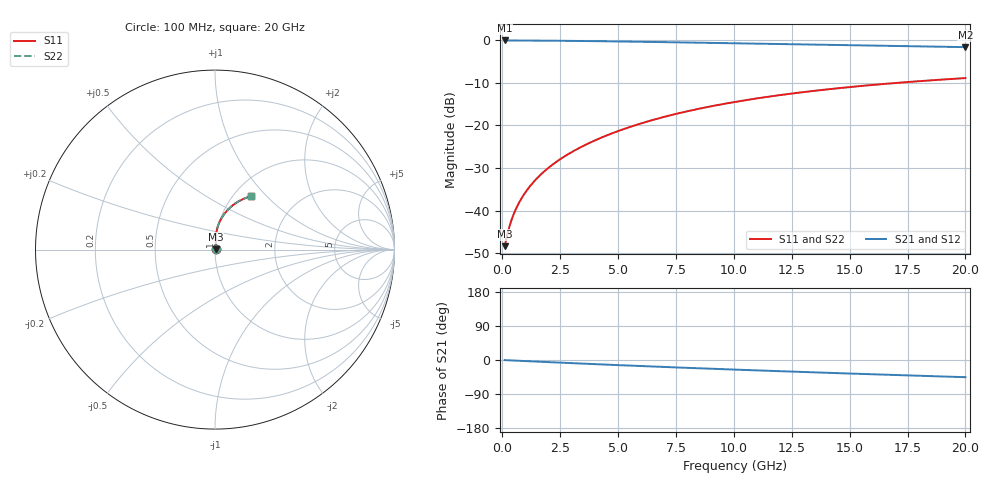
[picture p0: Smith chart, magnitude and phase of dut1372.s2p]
! Touchstone file exported from HFSS 2024.1.0
!  File:  C:/UserFiles/LocalFiles/RDL_TSV_Batchsim/temp_RDL_top_1372_1780367029.aedt
!  Generated:  10:26:01 AM Jun  2, 2026
!  Design:  RDL_top
!  Project:  temp_RDL_top_1372_1780367029
!  Setup:  Setup1
!  Solution:  Sweep
! Variables:
!  dtsv = 10.80580581um
!  hbump = 3um
!  htsv = 86.76um
!  ldown = 100um
!  lrdl = 647.45um
!  p = 40
!  p1 = 54.4um
!  rhole = 1um
!  t = 450um
!  tdown = 3.915915916um
!  trdl = 2.73um
!  wdown = 15.38538539um
!  wrdl = 27.51um
# GHz S MA R 50.000000
! Terminal data exported
! Port[1] = Box2_T1
! Port[2] = Box2_T2
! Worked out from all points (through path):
!   200 points, 100 MHz to 20 GHz, reference 50 ohm
!   highest |S21| = -0.03 dB at 100 MHz (marker M1); lowest = -1.6 dB at 20 GHz (marker M2)
!   group delay of S21, straight-line fit = 6.23 ps
!   lowest |S11| = -48.4 dB at 100 MHz (marker M3), VSWR 1.01, Z = 50.3 + j0.183 ohm
!   |S11| at or under -10 dB: start of sweep to 17.04 GHz
!   |S22| runs from -48.4 to -8.9 dB; largest |S21 - S12| = 1.6e-14
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0.1  0.003812 28.6  0.9966 -0.3  0.9966 -0.3  0.003812 28.6
! Gamma 0 0 0 0
! Port Impedance 50 0 50 0
0.2  0.005004 45.4  0.9964 -0.6  0.9964 -0.6  0.005004 45.4
0.3  0.006382 54.5  0.9962 -0.9  0.9962 -0.9  0.006382 54.5
0.4  0.007787 60.2  0.9959 -1.2  0.9959 -1.2  0.007787 60.2
0.5  0.009193 64.3  0.9957 -1.4  0.9957 -1.4  0.009193 64.3
0.6  0.0106 67.4  0.9954 -1.7  0.9954 -1.7  0.0106 67.4
0.8  0.01346 72.0  0.9949 -2.3  0.9949 -2.3  0.01346 72.0
1  0.01638 75.3  0.9944 -2.8  0.9944 -2.8  0.01638 75.3
1.2  0.01937 77.7  0.9938 -3.4  0.9938 -3.4  0.01936 77.7
1.7  0.02707 81.6  0.9921 -4.8  0.9921 -4.8  0.02707 81.6
2.2  0.03511 83.9  0.9898 -6.2  0.9898 -6.2  0.03511 83.9
2.8  0.04518 85.4  0.9866 -7.8  0.9866 -7.8  0.04519 85.5
3.5  0.05751 86.3  0.982 -9.7  0.982 -9.7  0.05753 86.4
4.2  0.07042 86.5  0.9768 -11.5  0.9768 -11.5  0.07045 86.6
5  0.0858 86.1  0.9703 -13.5  0.9703 -13.5  0.08584 86.2
6.8  0.1221 83.8  0.9543 -17.9  0.9543 -17.9  0.1221 83.9
8.4  0.1551 80.8  0.9392 -21.7  0.9392 -21.7  0.1552 80.8
10.1  0.1899 77.1  0.923 -25.5  0.923 -25.5  0.1901 77.1
11.7  0.2216 73.4  0.9077 -28.9  0.9077 -28.9  0.2218 73.5
13.4  0.2538 69.6  0.8917 -32.5  0.8917 -32.5  0.254 69.7
16.7  0.3107 62.4  0.8612 -39.1  0.8612 -39.1  0.3111 62.4
20  0.3601 55.6  0.8318 -45.3  0.8318 -45.3  0.3605 55.7
